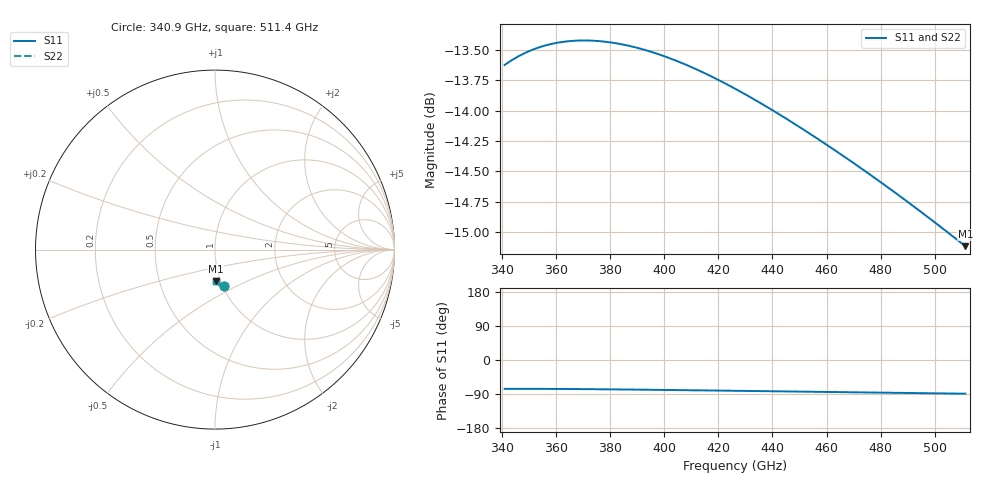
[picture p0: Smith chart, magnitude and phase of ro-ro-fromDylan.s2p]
!Created with skrf (http://scikit-rf.org).
# GHz S RI R 50.0
!freq ReS11 ImS11 ReS21 ImS21 ReS12 ImS12 ReS22 ImS22
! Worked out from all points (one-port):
!   401 points, 340.9 GHz to 511.4 GHz, reference 50 ohm
!   lowest |S11| = -15.1 dB at 511.4 GHz (marker M1), VSWR 1.43, Z = 47.3 - j17.1 ohm
!   |S11| at or under -10 dB: start of sweep to end of sweep
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340.9091  0.0498 -0.2023  0 0  0 0  0.0498 -0.2023
348.1534  0.0508 -0.2044  0 0  0 0  0.0508 -0.2044
351.1364  0.0509 -0.2051  0 0  0 0  0.0509 -0.2051
354.5455  0.0508 -0.2058  0 0  0 0  0.0508 -0.2058
357.9545  0.0506 -0.2064  0 0  0 0  0.0506 -0.2064
361.7898  0.0501 -0.2069  0 0  0 0  0.0501 -0.2069
369.4602  0.0488 -0.2076  0 0  0 0  0.0488 -0.2076
376.2784  0.0473 -0.2078  0 0  0 0  0.0473 -0.2078
383.0966  0.0455 -0.2077  0 0  0 0  0.0455 -0.2077
390.3409  0.0434 -0.2072  0 0  0 0  0.0434 -0.2072
398.0114  0.0409 -0.2064  0 0  0 0  0.0409 -0.2064
404.8295  0.0386 -0.2055  0 0  0 0  0.0386 -0.2055
411.6477  0.0362 -0.2044  0 0  0 0  0.0362 -0.2044
418.892  0.0336 -0.203  0 0  0 0  0.0336 -0.203
426.5625  0.0308 -0.2013  0 0  0 0  0.0308 -0.2013
439.7727  0.0259 -0.198  0 0  0 0  0.0259 -0.198
454.6875  0.0206 -0.1939  0 0  0 0  0.0206 -0.1939
468.75  0.0159 -0.1896  0 0  0 0  0.0159 -0.1896
483.2386  0.0114 -0.185  0 0  0 0  0.0114 -0.185
496.4489  0.00748 -0.1806  0 0  0 0  0.00748 -0.1806
510.5114  0.00349 -0.1758  0 0  0 0  0.00349 -0.1758
511.3636  0.00326 -0.1755  0 0  0 0  0.00326 -0.1755
